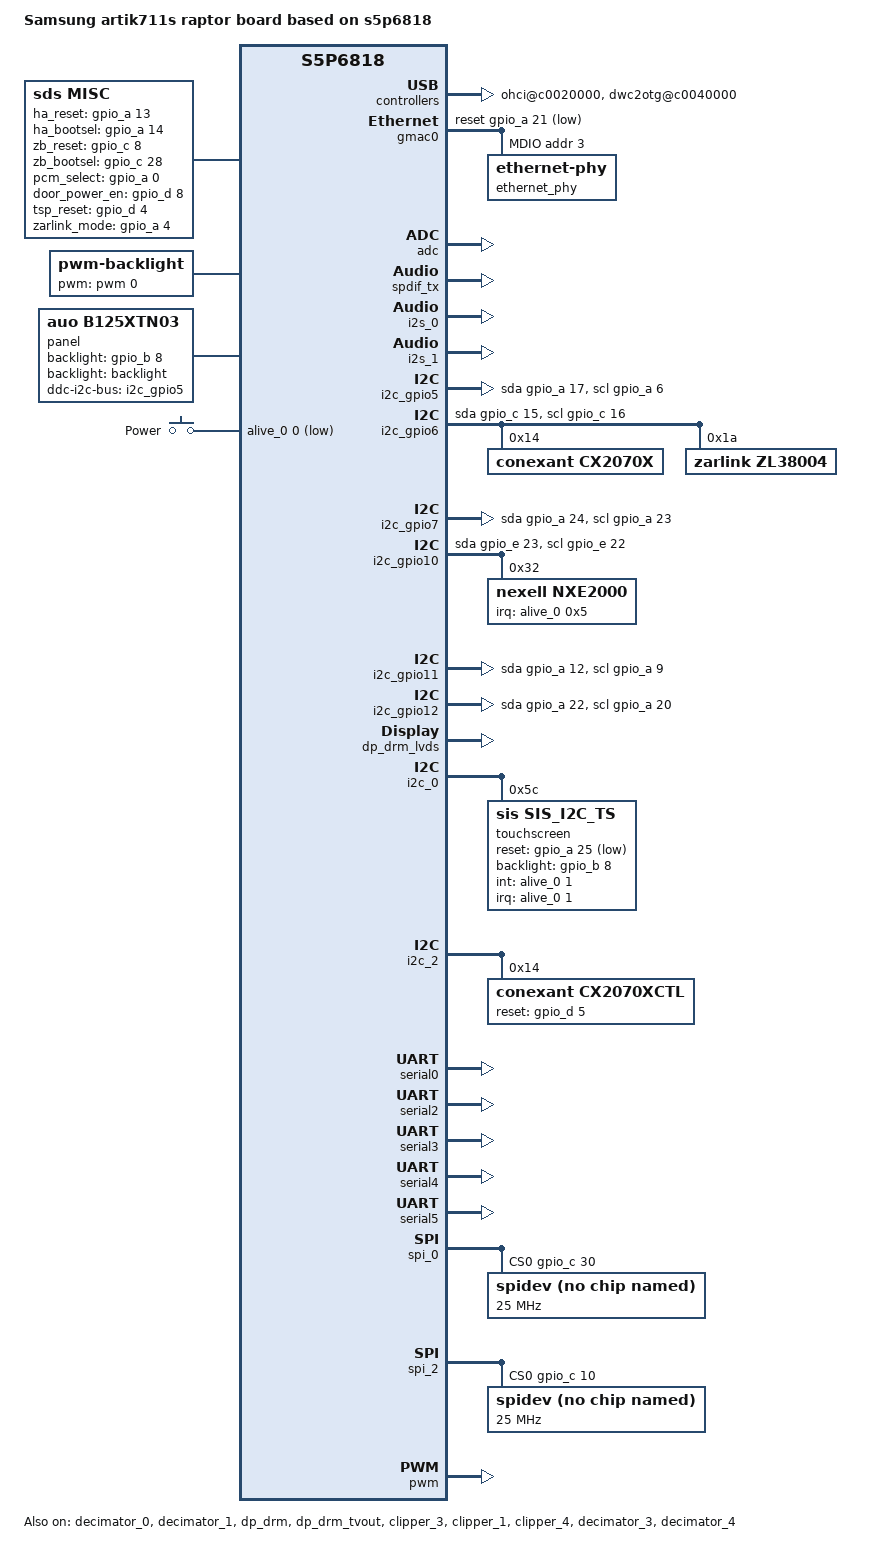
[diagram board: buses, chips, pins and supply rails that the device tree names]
/*
 * Copyright (C) 2018 Samsung Electronics
 * Author: Chanho Park <chanho61.park@samsung.com>
 *
 * This program is free software; you can redistribute it and/or
 * modify it under the terms of the GNU General Public License
 * as published by the Free Software Foundation; either version 2
 * of the License, or (at your option) any later version.
 *
 * This program is distributed in the hope that it will be useful,
 * but WITHOUT ANY WARRANTY; without even the implied warranty of
 * MERCHANTABILITY or FITNESS FOR A PARTICULAR PURPOSE.  See the
 * GNU General Public License for more details.
 *
 * You should have received a copy of the GNU General Public License
 * along with this program.  If not, see <http://www.gnu.org/licenses/>.
 */

#include <dt-bindings/interrupt-controller/irq.h>
#include <dt-bindings/input/input.h>
#include "s5p6818-artik711s.dtsi"

#define PMIC_PDATA_INIT(_id, _rname, _minuv,	\
			_maxuv, _init_uv, _init_enable,		\
			_set_init_uV, _slp_slots)	\
		regulator-name = _rname;		\
		regulator-min-microvolt = <_minuv>;	\
		regulator-max-microvolt = <_maxuv>;	\
		nx,id = <_id>;				\
		nx,init_enable = <_init_enable>;	\
		nx,init_uV = <_init_uv>;		\
		nx,set_init_uV = <_set_init_uV>;	\
		nx,sleep_slots = <_slp_slots>;

/ {
	model = "Samsung artik711s raptor board based on s5p6818";
	compatible = "samsung,artik711s-raptor", "samsung,artik710-raptor",
		   "samsung,artik711s", "samsung,artik710",
		   "nexell,s5p6818";

	aliases {
		i2c5 = &i2c_gpio5;	/* KJW : add i2c_gpio for EP126 */
		i2c6 = &i2c_gpio6;
		i2c7 = &i2c_gpio7;
		/* i2c8 = &i2c_gpio8; KJW : disable */
		/* i2c9 = &i2c_gpio9; YH : disable */
		i2c10 = &i2c_gpio10;
		i2c11 = &i2c_gpio11;
		i2c12 = &i2c_gpio12;
		/*i2c13 = &i2c_gpio13;*/
	};

	nx-v4l2 {
		status = "okay";
	};

	nx-devfreq {
		pll = <0>;
		status = "okay";
	};

	soc {

		clocks {
			sdhc0:sdhc@c00c5000 {
			      clk-input = <(I_PLL2 | I_GATE_PCLK)>;
			};
			sdhc1:sdhc@c00cc000 {
			      clk-input = <(I_PLL2 | I_GATE_PCLK)>;
			};
			sdhc2:sdhc@c00cd000 {
			      clk-input = <(I_PLL2 | I_GATE_PCLK)>;
			};
			timer0:timer@c00b9000 {
			      clk-input = <I_PLL2>;
			};
			timer1:timer@c00bb000 {
			      clk-input = <I_PLL2>;
			};
			pwm0:pwm0@c00ba000 {
			      clk-input = <I_PLL2>;
			};
			vip1:vip@c00c2000 { src-force = <5>; };

			i2s0:i2s@c00b2000 {
				clk-input = <I_PLL2>;
			};
			i2s1:i2s@c00b3000 {
				clk-input = <I_PLL2>;
			};

		};

		rtc@c0010c00 {
			status = "okay";
		};

		timer@c0017000 {
			clocks =  <&timer0>, <&timer1>;
			clock-names = "timer0", "timer1";
		};

		nexell_usbphy: nexell-usbphy@c0012000 {
			status = "okay";
		};

		ohci@c0020000 {
			status = "okay";
			port@0 {
				status = "okay";
			};
		};

		dwc2otg@c0040000 {
			status = "okay";
		};

		gmac0:ethernet@c0060000 {
			pinctrl-names = "default";
			pinctrl-0 = <&gmac_pins>;

			status = "okay";
			#address-cells = <0x1>;
			#size-cells = <0x0>;

			snps,phy-addr = <3>;
			snps,reset-gpio = <&gpio_a 21 0>;
			snps,reset-active-low;
			snps,reset-delays-us = <0 100000 300000>;
			/*snps,reset-delays-us = <0 10000 30000>;*/

			boost-busfreq;
			boost-busfreq-timeout = <100000>;

			mdio {
				#address-cells = <1>;
				#size-cells = <0>;

				ethernet_phy: ethernet-phy@3 {
					reg = <3>;
					fixed-link {
						speed = <1000>;
						full-duplex;
					};
				};
			};
		};

		adc:adc@c0053000 {
			status = "okay";
		};

		watchdog@c0019000 {
			status = "okay";
		};

		pinctrl@C0010000 {
			/*
			key_wakeup0:key_wakeup0 {
				nexell,pins = "alive-1";
				nexell,pin-function = <NX_PIN_FUNC0>;
				nexell,pin-pull = <NX_PIN_PULL_UP>;
				nexell,pin-strength = <NX_PIN_STR0>;
			};
			*/
			/*
			key_wakeup1:key_wakeup1 {
				nexell,pins = "alive-2";
				nexell,pin-function = <NX_PIN_FUNC0>;
				nexell,pin-pull = <NX_PIN_PULL_UP>;
				nexell,pin-strength = <NX_PIN_STR0>;
			};
			*/
			
			/* YH : 20180607 repo project sync
			key_doorcall: key_doorcall {
				nexell,pins = "gpioc-26";
				nexell,pin-function = <NX_PIN_FUNC1>;
				nexell,pin-pull = <NX_PIN_PULL_UP>;
				nexell,pin-strength = <NX_PIN_STR0>;
			};
			
			key_irdet: key_irdet {
				nexell,pins = "gpioa-15";
				nexell,pin-function = <NX_PIN_FUNC0>;
				nexell,pin-pull = <NX_PIN_PULL_UP>;
				nexell,pin-strength = <NX_PIN_STR0>;
			};
			*/

			pmic_irq:pmic_irq{
				nexell,pins = "alive-5";
				nexell,pin-function = <NX_PIN_FUNC0>;
				nexell,pin-pull = <NX_PIN_PULL_UP>;
				nexell,pin-strength = <NX_PIN_STR0>;
			};

			sdmmc2_cclk: sdmmc2-cclk {
				nexell,pin-strength = <NX_PIN_STR3>;
			};

			sdmmc2_cmd: sdmmc2-cmd {
				nexell,pin-strength = <NX_PIN_STR3>;
			};

			sdmmc2_bus4: sdmmc2-bus-width4 {
				nexell,pin-strength = <NX_PIN_STR2>;
			};

			tsp_irq: tsp-irq {
				nexell,pins = "alive-1";
				nexell,pin-function = <NX_PIN_FUNC0>;
				nexell,pin-pull = <NX_PIN_PULL_UP>;
				nexell,pin-strength = <NX_PIN_STR0>;
			};

			tsp_reset: tsp-reset {
				nexell,pins = "gpioa-25";
				nexell,pin-function = <NX_PIN_FUNC0>;
				nexell,pin-pull = <NX_PIN_PULL_UP>;
				nexell,pin-strength = <NX_PIN_STR0>;
			};
		};

		spdif_tx: spdiftx@c0059000 {
			#sound-dai-cells = <1>;
			pcm-bit = <16>;
			sample_rate = <48000>;
			status = "okay";
		};

		video-codec@c0080000 {
			status = "okay";
			sram = <0 0>;
		};

		i2s_0:i2s@c0055000 {
			#sound-dai-cells = <1>;
			master-mode = <1>;
			mclk-in = <0>;
			trans-mode = <0>;
			frame-bit = <32>;
			sample-rate = <8000>;	/* YH : 20180607 repo proj sync 16000 -> 8000 */
			pre-supply-mclk = <1>;
			dfs;
			status = "okay";
		};
		
		/* KJW : add */
		i2s_1:i2s@c0056000 {
			#sound-dai-cells = <1>;
			master-mode = <1>;
			mclk-in = <0>;
			trans-mode = <0>;
			frame-bit = <32>;
			sample-rate = <48000>;
			pre-supply-mclk = <1>;
			status = "okay";
		};

		vip_0:vip@c0063000 {
			clk-base = <0xc00c1000>;
			status = "okay";
		};

		vip_1:vip@c0064000 {
			status = "okay";
		};

		/* YH : internal CAM */
		clipper_0:clipper0@c0063000 {
			logical = <0>;
			interface_type = <NX_CAPTURE_INTERFACE_PARALLEL>;
			clock_source = <4>;
			pinctrl-names = "default";
			pinctrl-0 = <&vid0_data_clk &vid0_sync>;
			gpios = <&gpio_a 10 1 &gpio_e 13 1 &gpio_e 12 1>; /*cam_en & cam_rst & door_en*/
			data_order = <NX_VIN_CBY0CRY1>;
			port = <0>;
			external_sync = <1>; /* 601 */
			padclk_sel = <0>;
			h_syncpolarity = <1>; /* HSYNC active high */
			v_syncpolarity = <0>; /* VSYNC active low */
			h_frontporch = <0>;
			h_syncwidth = <0>;
			h_backporch = <0>;
			v_frontporch = <2048>;
			v_syncwidth = <0>;
			v_backporch = <0>;		
			interlace = <0>;
			status = "okay";

			sensor {
				type = <NX_CAPTURE_SENSOR_I2C>;
				i2c_name = "CM130";
				i2c_adapter = <12>;
				addr = <0x20>;
			};
			power {
				enable_seq = <
					NX_ACTION_START NX_ACTION_TYPE_GPIO 2 1 10 NX_ACTION_END
					NX_ACTION_START NX_ACTION_TYPE_GPIO 0 0 10 NX_ACTION_END
					NX_ACTION_START NX_ACTION_TYPE_GPIO 1 0 15 NX_ACTION_END
					NX_ACTION_START NX_ACTION_TYPE_GPIO 1 1 15 NX_ACTION_END
				>;

				disable_seq = <
					NX_ACTION_START NX_ACTION_TYPE_GPIO 1 0 100 NX_ACTION_END
					NX_ACTION_START NX_ACTION_TYPE_GPIO 0 1 10 NX_ACTION_END
					NX_ACTION_START NX_ACTION_TYPE_GPIO 2 1 1 NX_ACTION_END
				>;
			};
		};
		/*nvp buffer FR IR cam*/
		clipper_3:clipper3@c0063000 {
			compatible = "nexell,nx-clipper";
			module = <0>;
			logical = <1>;	/* using with clipper0 */
			logical_num = <0>;
			interface_type = <NX_CAPTURE_INTERFACE_PARALLEL>;
			clock_source = <4>;
			gpios = <&gpio_a 10 1 &gpio_e 12 1>; /* cam_en & door_en */
			data_order = <NX_VIN_CBY0CRY1>;
			port = <0>;
			external_sync = <0>;
			interlace = <0>; /* cvbs -> 1 */
			status = "okay";

			sensor {
				type = <NX_CAPTURE_SENSOR_I2C>;
				i2c_name = "NVP6158C";
				i2c_adapter = <11>;
				addr = <0x33>;
				real_addr = <0x32>; /* 0x64>>1 */
			};

			power {
				enable_seq = <
					NX_ACTION_START NX_ACTION_TYPE_GPIO 0 1 10 NX_ACTION_END
					NX_ACTION_START NX_ACTION_TYPE_GPIO 1 0 10 NX_ACTION_END
				>;
				disable_seq = <
					NX_ACTION_START NX_ACTION_TYPE_GPIO 0 1 10 NX_ACTION_END
					NX_ACTION_START NX_ACTION_TYPE_GPIO 1 1 10 NX_ACTION_END
				>;
				/* 
				enable_seq = <
					NX_ACTION_START NX_ACTION_TYPE_GPIO 1 1 10 NX_ACTION_END
					NX_ACTION_START NX_ACTION_TYPE_GPIO 2 0 10 NX_ACTION_END
					NX_ACTION_START NX_ACTION_TYPE_GPIO 0 0 10 NX_ACTION_END
					NX_ACTION_START NX_ACTION_TYPE_GPIO 0 1 10 NX_ACTION_END
				>;
				disable_seq = <
					NX_ACTION_START NX_ACTION_TYPE_GPIO 0 1 10 NX_ACTION_END
					NX_ACTION_START NX_ACTION_TYPE_GPIO 1 1 10 NX_ACTION_END
					NX_ACTION_START NX_ACTION_TYPE_GPIO 2 1 10 NX_ACTION_END
				>;
				*/
			};
		};

		/* FR Color cam */
		clipper_1:clipper1@c0064000 {
			compatible = "nexell,nx-clipper";
			module = <1>;
			logical = <0>;
			interface_type = <NX_CAPTURE_INTERFACE_PARALLEL>;
			pinctrl-names = "default";
			pinctrl-0 = <&vid2_data_clk &vid2_sync>;
			gpios = <&gpio_a 16 1>;	/* reset */
			data_order = <NX_VIN_CBY0CRY1>;
			port = <1>;
			external_sync = <0>;
			interlace = <0>; /* cvbs -> 1 */
			status = "okay";

			sensor {
				type = <NX_CAPTURE_SENSOR_I2C>;
				i2c_name = "NVP6158C";
				i2c_adapter = <11>;
				addr = <0x32>; /* 0x64>>1 */
			};
			power {
				/* control reset */
				enable_seq = <
					NX_ACTION_START NX_ACTION_TYPE_GPIO 0 0 10 NX_ACTION_END
					NX_ACTION_START NX_ACTION_TYPE_GPIO 0 1 10 NX_ACTION_END
				>;
			};
		};
		clipper_4:clipper4@c0064000 {
			compatible = "nexell,nx-clipper";
			module = <1>;
			logical = <1>;
			logical_num = <0>;
			interface_type = <NX_CAPTURE_INTERFACE_PARALLEL>;
			gpios = <&gpio_a 16 1 &gpio_a 10 1 &gpio_e 12 1>; /* reset & cam_en & door_en*/
			data_order = <NX_VIN_CBY0CRY1>;
			port = <1>;
			external_sync = <0>;
			interlace = <1>; /* cvbs -> 1 */
			status = "okay";

			sensor {
				type = <NX_CAPTURE_SENSOR_I2C>;
				i2c_name = "NVP6158C_VGA";
				i2c_adapter = <11>;
				addr = <0x30>;	/* 0x30:cvbs */
				real_addr = <0x32>; /* 0x64>>1 */
			};
			power {
				enable_seq = <
					NX_ACTION_START NX_ACTION_TYPE_GPIO 1 1 10 NX_ACTION_END
					NX_ACTION_START NX_ACTION_TYPE_GPIO 2 0 10 NX_ACTION_END
					NX_ACTION_START NX_ACTION_TYPE_GPIO 0 0 10 NX_ACTION_END
					NX_ACTION_START NX_ACTION_TYPE_GPIO 0 1 10 NX_ACTION_END
				>;
				disable_seq = <
					NX_ACTION_START NX_ACTION_TYPE_GPIO 0 1 10 NX_ACTION_END
					NX_ACTION_START NX_ACTION_TYPE_GPIO 1 1 10 NX_ACTION_END
					NX_ACTION_START NX_ACTION_TYPE_GPIO 2 1 10 NX_ACTION_END
				>;
			};
		};
		decimator_3:decimator3@c0063000 {
			compatible = "nexell,nx-decimator";
			module = <0>;
			logical = <1>;
			logical_num = <0>;
			status = "okay";
		};
		decimator_4:decimator4@c0064000 {
			compatible = "nexell,nx-decimator";
			module = <1>;
			logical = <1>;
			logical_num = <0>;
			status = "okay";
		};

		scaler@c0066000 {
			status = "okay";
		};
	};	/*** soc ***/

	/* KJW : add misc */
	misc {
		status = "okay";
		compatible = "sds,misc";
		
		ha_reset-gpio = <&gpio_a 13 0>;
		ha_bootsel-gpio = <&gpio_a 14 0>;
		zb_reset-gpio = <&gpio_c 8 0>;
		zb_bootsel-gpio = <&gpio_c 28 0>;
		pcm_select-gpio = <&gpio_a 0 0>;
		door_power_en-gpio = <&gpio_d 8 0>;
		tsp_reset-gpio = <&gpio_d 4 0>;
		zarlink_mode-gpio = <&gpio_a 4 0>;
		zarlink_reset-gpio = <&gpio_a 5 0>;
		power_sw_hold-gpio = <&alive_0 2 0>;

		door_call_det-gpio = <&gpio_c 26 0>;
		door_ir_det-gpio = <&gpio_a 15 0>;

		/*interrupt-parent = <&gpio_c>;
		interrupts = <26 IRQ_TYPE_EDGE_RISING>;
		int-gpio = <&gpio_c 26 0>;

		interrupt-parent = <&gpio_a>;
		interrupts = <15 IRQ_TYPE_EDGE_RISING>;
		int-gpio = <&gpio_a 15 0>;*/
	};
	
	backlight: pwm-backlight {
		compatible = "pwm-backlight";
		pwms = <&pwm 0 20000 0>;
		pwm-names = "pwm-backlight";
		brightness-levels = < 0  1  2  3  4  5  6  7  8  9
				     10 11 12 13 14 15 16 17 18 19
				     20 21 22 23 24 25 26 27 28 29
				     30 31 32 33 34 35 36 37 38 39
				     40 41 42 43 44 45 46 47 48 49
				     50 51 52 53 54 55 56 57 58 59
				     60 61 62 63 64 65 66 67 68 69
				     70 71 72 73 74 75 76 77 78 79
				     80 81 82 83 84 85 86 87 88 89
				     90 91 92 93 94 95 96 97 98 99
				    100>;
		default-brightness-level = <60>;
		status = "okay";
	};

	panel: panel-simple {
		/*compatible = "dongguan,gst7d0038";*/
		compatible = "auo,b125xtn03";
		ddc-i2c-bus = <&i2c_gpio5>;

		/* enable-gpios = <&gpio_a 19 0>; */
		/* reset-gpios = <&gpio_a 3 0>; */
		/* interrupt-parent = <&gpio_c>; */
		/* interrupts = <27 IRQ_TYPE_EDGE_RISING>; */
		/* int-gpio = <&gpio_c 27 0>; */
		backlight-gpios = <&gpio_b 8 0>; /*SKJ 20180501 : backlight on/off */
		
		backlight = <&backlight>;
		status = "okay";

		port {
			lvds_panel: endpoint {
			};
		};
	};

	/* KJW : add i2c_gpio for EP126 */
	i2c_gpio5:i2c@5 {
		compatible = "i2c-gpio";
		gpios = <&gpio_a 17 0 /* sda */
			&gpio_a 6 0 /* scl */
			>;
		/* SKJ 20180501 : set clk (100K) - <100> -> <1> */
		i2c-gpio,delay-us = <1>;
		#address-cells = <1>;
		#size-cells = <0>;
	};

	/* dummy i2c (need to sound driver)*/
	i2c_gpio6:i2c@6 {
		compatible = "i2c-gpio";
		status = "okay";
		/* KJW : remap to dummy gpios */
		gpios = <&gpio_c 15 0
			&gpio_c 16 0
			>;
		/* SKJ 20180501 : set clk (100K) - <10> -> <1> */
		i2c-gpio,delay-us = <1>;
		#address-cells = <1>;
		#size-cells = <0>;
		
		cx2070x: cx2070x@14 {
			#sound-dai-cells = <0>;
			compatible = "conexant,cx2070x";
			reg = <0x14>;
		};
		
		zl38004: zl38004@1a {
			#sound-dai-cells = <0>;
			compatible = "zarlink,zl38004";
			reg = <0x1a>;
		};
	};

	i2c_gpio7:i2c@7 {
		compatible = "i2c-gpio";
		gpios = <&gpio_a 24 0 /* sda */
			&gpio_a 23 0 /* scl */
			>;
		/* SKJ 20180501 : set clk (100K) - <100> -> <1> */
		i2c-gpio,delay-us = <1>;
		#address-cells = <1>;
		#size-cells = <0>;
	};
	
	/* sound { */
	sound0: sound@0 {
		compatible = "nexell,simple-audio-card";
		simple-audio-card,name = "Artik711 raptor Audio0";
		status = "okay";
		
		simple-audio-card,dai-link@0 {
		    format = "i2s";
		    cpu {
				sound-dai = <&i2s_1 0>;
		    };

		    codec {
				sound-dai = <&cx2070x>;
		    };
		};
	};
	
	sound1: sound@1 {
		compatible = "nexell,simple-audio-card";
		simple-audio-card,name = "Artik711 raptor Audio1";
		status = "okay";
		
		simple-audio-card,dai-link@0 {
		    format = "i2s";
		    cpu {
				sound-dai = <&i2s_0 0>;
		    };

		    codec {
				sound-dai = <&zl38004>;
		    };
		};
	};

	
	/*
	sound {
		compatible = "simple-audio-card";
		simple-audio-card,name = "Artik710 raptor Audio";
		simple-audio-card,mclk-fs = <256>;
		simple-audio-card,widgets =
		    "Headphone", "Out Jack",
		    "Microphone", "In Jack";
		simple-audio-card,routing =
		    "Out Jack", "HPOL",
		    "Out Jack", "HPOR",
		    "IN2P", "In Jack",
		    "IN2P", "In Jack";
		status = "okay";

		simple-audio-card,dai-link@0 {
		    format = "i2s";
		    cpu {
			sound-dai = <&i2s_0 0>;
		    };

		    codec {
			sound-dai = <&alc5658>;
		    };
		};

		simple-audio-card,dai-link@1 {
		    format = "spdif";
		    cpu {
			sound-dai = <&spdif_tx 0>;
		    };

		    codec {
			sound-dai = <&spdif_out>;
		    };
		};
	};
	*/

	gpio_key: gpio_keys {
		compatible = "gpio-keys";
		#address-cells = <1>;
		#size-cells = <0>;
		pinctrl-names = "default";
		/*pinctrl-0 = <&key_wakeup0>, <&key_wakeup1>;*/
		/*pinctrl-0 = <&key_doorcall>, <&key_irdet>;*/

		power {
			label = "Power";
			gpios = <&alive_0 0 1>;
			linux,code = <KEY_POWER>;
			gpio-key,wakeup;
		};
		
		/*
		doorcall {
			label = "DoorCall";
			gpios = <&gpio_c 26 0>;
			linux,code = <59>;			
			linux,input-type = <0>;
			debounce-interval = <200>;
			gpio-key,wakeup;
		};
		
		irdet {
			label = "IrDet";
			gpios = <&gpio_a 15 0>;
			linux,code = <60>;			
			linux,input-type = <0>;
			debounce-interval = <150>;
			gpio-key,wakeup;
		};
		*/

		/*
		wakeup0 {
			label = "Wakeup";
			gpios = <&alive_0 1 1>;
			linux,code = <KEY_WAKEUP>;
			gpio-key,wakeup;
		};
		*/
		/*
		wakeup1 {
			label = "Wakeup";
			gpios = <&alive_0 2 1>;
			linux,code = <KEY_WAKEUP>;
			gpio-key,wakeup;
		};
		*/
	};

	/* KJW : disable
	spdif_out: spdif-out {
		#sound-dai-cells = <0>;
		compatible = "linux,spdif-dit";
	};
	*/

	/* KJW : disable Battery monitor
	i2c_gpio8: i2c@8 {
		compatible = "i2c-gpio";
		gpios = <&gpio_a 13 0
			&gpio_a 9 0
			>;
		i2c-gpio,delay-us = <1>;
		#address-cells = <1>;
		#size-cells = <0>;
		status = "okay";

		cw2015@62 {
			compatible = "cw201x";
			reg = <0x62>;

			bat_config_info = <0x15 0x4C 0x78 0x48 0x25
				0x16 0x45 0x60 0x67 0x5D
                0x56 0x4C 0x58 0x58 0x53
				0x57 0x59 0x5C 0x5E 0x65
                0x57 0x6C 0x78 0x75 0x85
				0x91 0x07 0xAE 0x74 0xA4
                0x96 0xA3 0xC1 0xC2 0xD2
				0xBF 0x40 0x1F 0x98 0x19
                0x05 0x38 0x48 0x79 0x8D
				0x92 0x92 0x23 0x73 0x80
                0x94 0xB0 0x37 0xC1 0x91
				0xCB 0x2F 0x7D 0x72 0xA5
				0xB5 0xC1 0x15 0x09>;

			is_dc_charge = <1>;
			is_usb_charge = <0>;
		};

	};
	*/
	/*
	i2c_gpio9: i2c@9 {
		compatible = "i2c-gpio";
		gpios = <&gpio_a 19 0	 
			&gpio_a 20 0	 
			>;
		i2c-gpio,delay-us = <1>;	 
		#address-cells = <1>;
		#size-cells = <0>;
		status = "okay";

		bq24296_charger@6b {
			compatible = "ti,bq24296";
			reg = <0x6b>;
			ti,chg_current = <1000 1500 2000>;
		};
	};
	*/
	i2c_gpio10: i2c@10 {
		compatible = "i2c-gpio";
		gpios = <&gpio_e 23 0	/* sda */
			&gpio_e 22 0	/* scl */
			>;

		i2c-gpio,delay-us = <1>;	/* ~100kHz */
		#address-cells = <1>;
		#size-cells = <0>;
		status = "okay";

		nxe2000@32 {
			compatible = "nexell,nxe2000";
			reg = <0x32>;
			interrupt-parent = <&alive_0>;
			interrupts = <0x5 IRQ_TYPE_EDGE_FALLING>;
			pinctrl-names = "default";
			pinctrl-0 = <&pmic_irq>;
		};
	};

	/* YH : for decoder */
	i2c_gpio11: i2c@11 {
		compatible = "i2c-gpio";
		gpios = <&gpio_a 12 0	
			&gpio_a 9 0	
			>;

		i2c-gpio,delay-us = <1>;
		#address-cells = <1>;
		#size-cells = <0>;
		status = "okay";
	};

	i2c_gpio12: i2c@12 {
		compatible = "i2c-gpio";
		gpios = <&gpio_a 22 0 /* sda */
			&gpio_a 20 0 /* scl */
			>;

		/* SKJ 20180501 : set clk (100K) - <100> -> <1>   */
		i2c-gpio,delay-us = <1>;
		#address-cells = <1>;
		#size-cells = <0>;
		status = "okay";
	};
	/* YH disable
	i2c_gpio13: i2c@13 {
		compatible = "i2c-gpio";
		gpios = <&gpio_a 0 0	
			&gpio_a 25 0	
			>;

		i2c-gpio,delay-us = <1>;
		#address-cells = <1>;
		#size-cells = <0>;
		status = "okay";
	};
	*/
	regulators {
		VCC_DCDC0:
			dcdc1	{ PMIC_PDATA_INIT( 0,
				"nxe2000_dcdc1",
				900000, 1500000,
				1100000, 1, 0, 0x4)
				regulator-always-on;
				regulator-boot-on;};
		VCC_DCDC1:
			dcdc2	{ PMIC_PDATA_INIT( 1,
				"nxe2000_dcdc2",
				1000000, 1500000,
				1200000, 1, 0, 0x4)
				regulator-always-on;
				regulator-boot-on;};
		VCC_DCDC2:
			dcdc3	{ PMIC_PDATA_INIT( 2,
				"nxe2000_dcdc3",
				1000000, 3500000,
				3300000, 1, 1, 0xF)
				regulator-always-on;
				regulator-boot-on;};
		VCC_DCDC3:
			dcdc4	{ PMIC_PDATA_INIT( 3,
				"nxe2000_dcdc4",
				1000000, 2000000,
				1500000, 1, 0, 0xF)
				regulator-always-on;
				regulator-boot-on;};
		VCC_DCDC4:
			dcdc5	{ PMIC_PDATA_INIT( 4,
				"nxe2000_dcdc5",
				1000000, 2000000,
				1500000, 1, 0, 0x4)
				regulator-always-on;
				regulator-boot-on;};
		VCC_LDO0:
			ldo1	{ PMIC_PDATA_INIT( 5,
				"nxe2000_ldo1",
				1000000, 3500000,
				3300000, 0, 1, 0x0)
				regulator-boot-on;};
		VCC_LDO1:
			ldo2	{ PMIC_PDATA_INIT( 6,
				"nxe2000_ldo2",
				1000000, 3500000,
				3300000, 0, 1, 0x0)
				regulator-boot-on;};
		VCC_LDO2:
			ldo3	{ PMIC_PDATA_INIT( 7,
				"nxe2000_ldo3",
				1000000, 3500000,
				1800000, 1, 1, 0xF)
				regulator-always-on;
				regulator-boot-on;};
		VCC_LDO3:
			ldo4	{ PMIC_PDATA_INIT( 8,
				"nxe2000_ldo4",
				1000000, 3500000,
				1800000, 1, 1, 0x2)
				regulator-always-on;
				regulator-boot-on;};
		VCC_LDO4:
			ldo5	{ PMIC_PDATA_INIT( 9,
				"nxe2000_ldo5",
				1000000, 3500000,
				3300000, 0, 1, 0x0)
				regulator-boot-on;};
		VCC_LDO5:
			ldo6	{ PMIC_PDATA_INIT(10,
				"nxe2000_ldo6",
				1000000, 3500000,
				3300000, 1, 1, 0xF)
				regulator-always-on;
				regulator-boot-on;};
		VCC_LDO6:
			ldo7	{ PMIC_PDATA_INIT(11,
				"nxe2000_ldo7",
				1000000, 3500000,
				3300000, 1, 1, 0x0)
				regulator-always-on;
				regulator-boot-on;};
		VCC_LDO7:
			ldo8	{ PMIC_PDATA_INIT(12,
				"nxe2000_ldo8",
				1000000, 3500000,
				3300000, 0, 1, 0xF)
				regulator-boot-on;};
		VCC_LDO8:
			ldo9	{ PMIC_PDATA_INIT(13,
				"nxe2000_ldo9",
				1000000, 3500000,
				1800000, 0, 1, 0x2)
				regulator-boot-on;};
		VCC_LDO9:
			ldo10	{ PMIC_PDATA_INIT(14,
				"nxe2000_ldo10",
				1000000, 3500000,
				1200000, 1, 1, 0x4)
				regulator-always-on;
				regulator-boot-on;};
		VCC_RTC0:
			ldortc1	{ PMIC_PDATA_INIT(15,
				"nxe2000_rtc1",
				1700000, 3500000,
				1800000, 1, 1, 0xF)
				regulator-always-on;
				regulator-boot-on;};
		VCC_RTC1:
			ldortc2	{ PMIC_PDATA_INIT(16,
				"nxe2000_rtc2",
				1000000, 3500000,
				1000000, 1, 1, 0xF)
				regulator-always-on;
				regulator-boot-on;};
	}; /* regulators */

	nexell-ion@0 {
		compatible = "nexell,ion";

		heap_sys_user@0 {
			heap-type = "ion_system";
		};

		heap_sys_contig@0 {
			heap-type = "ion_system_contig";
		};

		heap_dma@0 {
			heap-type = "ion_dma";
		};
	};

};

&decimator_0 {
	logical = <0>;
	status = "okay";
};

&decimator_1 {
	logical = <0>;
	status = "okay";
};

&dp_drm {
        status = "okay";
        ports {
                port@0 {
                        reg = <0>;
                        back_color = < 0x0 >;
                        color_key = < 0x0 >;
			plane-names = "video", "primary", "rgb";
		};
                port@1 {
                        reg = <1>;
                        back_color = < 0x0 >;
                        color_key = < 0x0 >;
			plane-names = "video", "primary";
		};
       };
};

&dp_drm_lvds {
	status = "ok";
	/*format = <1>;  JEDIA format */
	format = <0>; /* VESA format */
	remote-endpoint = <&lvds_panel>;

	dp_control {
		clk_src_lv0 = <3>;
		clk_div_lv0 = <10>; /* YH : 16 -> 10*/
		clk_src_lv1 = <7>;
		clk_div_lv1 = <1>;
		out_format = <3>;
	};
};

&dp_drm_tvout {
	status = "ok";
	saturation = <60>;
	pedestal = <1>;

	display-timing {
		clock-frequency = <27000000>;
		hactive = <720>;
		vactive = <480>;
		hfront-porch = <16>;
		hback-porch = <90>;
		hsync-len = <33>;
		vfront-porch = <4>;
		vback-porch = <15>;
		vsync-len = <3>;
		interlaced = <1>;
		vsync-active = <0>;
		hsync-active = <0>;
	};

	dp_control {
		clk_src_lv0 = <4>;
		clk_div_lv0 = <1>;
		clk_delay_lv0 = <0>;
		clk_inv_lv0 = <0>;
		clk_src_lv1 = <7>;
		clk_div_lv1 = <2>;
		clk_delay_lv1 = <0>;
		clk_inv_lv1 = <0>;
		vck_select = <1>;
		out_format = <13>;
	};
};

&dw_mmc_0 {
	num-slots = <1>;
	bus-width = <4>;
	cap-sd-highspeed;
	clock-frequency = <100000000>;
	card-detect-delay = <200>;
	disable-wp;
	cd-gpios = <&gpio_b 16 0>;
	cd-inverted;
	nexell,drive_dly = <0x0>;
	nexell,drive_shift = <0x02>;
	nexell,sample_dly = <0x00>;
	nexell,sample_shift = <0x01>;
	status = "disabled"; /* Patch merge 20180517 */
};

&i2c_0 {
	#address-cells = <1>;
	#size-cells = <0>;
	/* SKJ 20180501 : set clk (400K) */
	samsung,i2c-max-bus-freq = <400000>;
	status = "okay";

#if 1
	/* KJW 20180501 : sis TSP */
	touchscreen@5c {
		compatible = "sis,sis_i2c_ts";
		reg = <0x5c>;
		reset-gpio = <&gpio_a 25 1>;
		backlight-gpio = <&gpio_b 8 0>;
		
		interrupt-parent = <&alive_0>;
		interrupts = <1 IRQ_TYPE_EDGE_FALLING>;
		int-gpio = <&alive_0 1 0>;
		
		pinctrl-names = "default";
		pinctrl-0 = <&tsp_irq &tsp_reset>;
	};
#else
	/* SKJ 20180501 : egalax TSP */
	touchscreen@2a {
		compatible = "eeti,egalax_i2c";
		reg = <0x2a>;
		reset-gpio = <&gpio_a 25 1>;
		
		interrupt-parent = <&alive_0>;
		interrupts = <1 IRQ_TYPE_LEVEL_LOW>;
		int-gpio = <&alive_0 1 0>;
		
		pinctrl-names = "default";
		pinctrl-0 = <&tsp_irq &tsp_reset>;
	};
#endif	
};

/* KJW : add */
&i2c_2 {
	#address-cells = <1>;
	#size-cells = <0>;
	/* SKJ 20180501 : modify clk (100K -> 400K) */
	samsung,i2c-max-bus-freq = <400000>;
	status = "okay";

	cx2070xctl: cx2070xctl@14 {
		/*#sound-dai-cells = <0>;*/
		compatible = "conexant,cx2070xctl";
		reg = <0x14>;
		reset-gpio = <&gpio_d 5 0>;
 	};
};

&serial0 {
	status = "okay";
};

&serial2 {
	status = "okay";
};

&serial3 {
	status = "okay";
};

&serial4 {
	status = "okay";
};

&serial5 {
	status = "okay";
};

&spi0_bus {                                                                     
        nexell,pin-strength = <NX_PIN_STR1>;                                    
};

&spi_0 {
	status = "okay";
	hierarchy = <0>; /* 0:master, 1:slave */
	cs-gpios = <&gpio_c 30 0>;
	spidev@0 {
		compatible = "linux,spidev";
		reg = <0>;
		spi-max-frequency = <25000000>;
		controller-data {
			samsung,spi-feedback-delay = <0>;
		};
	};
};

&spi_2 {
	/*status = "okay";*/
	cs-gpios = <&gpio_c 10 0>;
	spidev@0 {
		compatible = "linux,spidev";
		reg = <0>;
		spi-max-frequency = <25000000>;
		controller-data {
			samsung,spi-feedback-delay = <0>;
		};
	};
};

&pwm {
	status = "okay";
	clocks =  <&pwm0>, <&pwm2>;
	clock-names = "pwm-tclk0", "pwm-tclk1";
	pinctrl-0 = <&pwm0_pin &pwm1_pin>;
	samsung,pwm-outputs = <0>, <1>;
};
